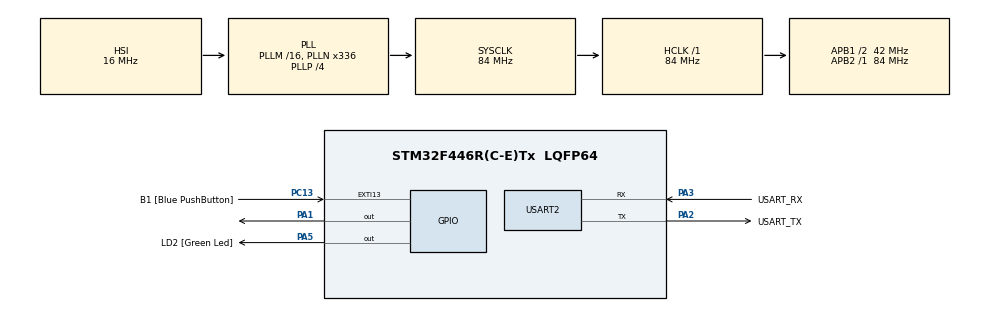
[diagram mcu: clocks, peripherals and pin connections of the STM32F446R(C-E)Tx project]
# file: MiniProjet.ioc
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FREERTOS.BinarySemaphores01=tempSemaphore,Dynamic,NULL,Available
FREERTOS.Tasks01=defaultTask,24,128,StartDefaultTask,Default,NULL,Dynamic,NULL,NULL;TemperatureTask,24,256,StartTask02,Default,NULL,Dynamic,NULL,NULL;AlarmTask,16,256,StartTask03,Default,NULL,Dynamic,NULL,NULL
FREERTOS.configUSE_NEWLIB_REENTRANT=1
Mcu.Family=STM32F4
Mcu.Name=STM32F446R(C-E)Tx
Mcu.Package=LQFP64
NVIC.PriorityGroup=NVIC_PRIORITYGROUP_4
NVIC.TIM6_DAC_IRQn=true\:15\:0\:false\:false\:true\:false\:false\:true\:true
NVIC.TimeBase=TIM6_DAC_IRQn
NVIC.TimeBaseIP=TIM6
PA1.Signal=GPIO_Output
PA13.GPIO_Label=TMS
PA13.Mode=Serial_Wire
PA13.Signal=SYS_JTMS-SWDIO
PA14.GPIO_Label=TCK
PA14.Mode=Serial_Wire
PA14.Signal=SYS_JTCK-SWCLK
PA2.GPIO_Label=USART_TX
PA2.Mode=Asynchronous
PA2.Signal=USART2_TX
PA3.GPIO_Label=USART_RX
PA3.Mode=Asynchronous
PA3.Signal=USART2_RX
PA5.GPIO_Label=LD2 [Green Led]
PA5.Signal=GPIO_Output
PB3.GPIO_Label=SWO
PB3.Signal=SYS_JTDO-SWO
PC13.GPIO_Label=B1 [Blue PushButton]
PC13.GPIO_ModeDefaultEXTI=GPIO_MODE_IT_FALLING
PC13.Signal=GPXTI13
PC14-OSC32_IN.Mode=LSE-External-Oscillator
PC14-OSC32_IN.Signal=RCC_OSC32_IN
PC15-OSC32_OUT.Mode=LSE-External-Oscillator
PC15-OSC32_OUT.Signal=RCC_OSC32_OUT
PH0-OSC_IN.Mode=HSE-External-Oscillator
PH0-OSC_IN.Signal=RCC_OSC_IN
PH1-OSC_OUT.Mode=HSE-External-Oscillator
PH1-OSC_OUT.Signal=RCC_OSC_OUT
ProjectManager.HeapSize=0x200
ProjectManager.StackSize=0x400
ProjectManager.TargetToolchain=STM32CubeIDE
RCC.48MHZClocksFreq_Value=84000000
RCC.AHBFreq_Value=84000000
RCC.APB1CLKDivider=RCC_HCLK_DIV2
RCC.APB1Freq_Value=42000000
RCC.APB1TimFreq_Value=84000000
RCC.APB2Freq_Value=84000000
RCC.APB2TimFreq_Value=84000000
RCC.CortexFreq_Value=84000000
RCC.FLatency-AdvancedSettings=FLASH_LATENCY_2
RCC.HCLKFreq_Value=84000000
RCC.HSE_VALUE=8000000
RCC.HSI_VALUE=16000000
RCC.PLLN=336
RCC.PLLP=RCC_PLLP_DIV4
RCC.SYSCLKFreq_VALUE=84000000
RCC.SYSCLKSource=RCC_SYSCLKSOURCE_PLLCLK
RCC.USBFreq_Value=168000000
RCC.VCOOutputFreq_Value=336000000
TIM2.Period=0xffffffff
TIM2.Prescaler=84-1
USART2.VirtualMode=VM_ASYNC
VP_FREERTOS_VS_CMSIS_V2.Mode=CMSIS_V2
VP_SYS_VS_tim6.Mode=TIM6
VP_TIM2_VS_ClockSourceINT.Mode=Internal
board=NUCLEO-F446RE

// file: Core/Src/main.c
/* USER CODE BEGIN Header */
/**
  ******************************************************************************
  * @file           : main.c
  * @brief          : Main program body
  ******************************************************************************
  * @attention
  *
  * Copyright (c) 2026 STMicroelectronics.
  * All rights reserved.
  *
  * This software is licensed under terms that can be found in the LICENSE file
  * in the root directory of this software component.
  * If no LICENSE file comes with this software, it is provided AS-IS.
  *
  ******************************************************************************
  */
/* USER CODE END Header */
#include "main.h"
#include "cmsis_os.h"

/* USER CODE BEGIN Includes */
#include "dht22.h"
#include <stdio.h>
#include <string.h>
/* USER CODE END Includes */

TIM_HandleTypeDef htim2;

UART_HandleTypeDef huart2;

/* Definitions for defaultTask */
osThreadId_t defaultTaskHandle;
const osThreadAttr_t defaultTask_attributes = {
  .name = "defaultTask",
  .stack_size = 128 * 4,
  .priority = (osPriority_t) osPriorityNormal,
};
/* Definitions for TemperatureTask */
osThreadId_t TemperatureTaskHandle;
const osThreadAttr_t TemperatureTask_attributes = {
  .name = "TemperatureTask",
  .stack_size = 256 * 4,
  .priority = (osPriority_t) osPriorityNormal,
};
/* Definitions for AlarmTask */
osThreadId_t AlarmTaskHandle;
const osThreadAttr_t AlarmTask_attributes = {
  .name = "AlarmTask",
  .stack_size = 256 * 4,
  .priority = (osPriority_t) osPriorityBelowNormal,
};
/* Definitions for tempSemaphore */
osSemaphoreId_t tempSemaphoreHandle;
const osSemaphoreAttr_t tempSemaphore_attributes = {
  .name = "tempSemaphore"
};

void SystemClock_Config(void);
static void MX_GPIO_Init(void);
static void MX_USART2_UART_Init(void);
static void MX_TIM2_Init(void);
void StartDefaultTask(void *argument);
void StartTask02(void *argument);
void StartTask03(void *argument);

/* USER CODE BEGIN 0 */
void UART_Send(char *msg)
{
    HAL_UART_Transmit(&huart2,
                     (uint8_t*)msg,
                     strlen(msg),
                     HAL_MAX_DELAY);
}
/* USER CODE END 0 */

int main(void)
{

  /* MCU Configuration--------------------------------------------------------*/

  /* Reset of all peripherals, Initializes the Flash interface and the Systick. */
  HAL_Init();

  /* Configure the system clock */
  SystemClock_Config();

  /* Initialize all configured peripherals */
  MX_GPIO_Init();
  MX_USART2_UART_Init();
  MX_TIM2_Init();
  HAL_TIM_Base_Start(&htim2);

  /* Init scheduler */
  osKernelInitialize();

  /* Create the semaphores(s) */
  /* creation of tempSemaphore */
  tempSemaphoreHandle = osSemaphoreNew(1, 0, &tempSemaphore_attributes);

  /* Create the thread(s) */
  /* creation of defaultTask */
  defaultTaskHandle = osThreadNew(StartDefaultTask, NULL, &defaultTask_attributes);

  /* creation of TemperatureTask */
  TemperatureTaskHandle = osThreadNew(StartTask02, NULL, &TemperatureTask_attributes);

  /* creation of AlarmTask */
  AlarmTaskHandle = osThreadNew(StartTask03, NULL, &AlarmTask_attributes);

  /* Start scheduler */
  osKernelStart();

  /* We should never get here as control is now taken by the scheduler */

  /* Infinite loop */
  while (1)
  {

  }
}

void SystemClock_Config(void)
{
  RCC_OscInitTypeDef RCC_OscInitStruct = {0};
  RCC_ClkInitTypeDef RCC_ClkInitStruct = {0};

  /** Configure the main internal regulator output voltage
  */
  __HAL_RCC_PWR_CLK_ENABLE();
  __HAL_PWR_VOLTAGESCALING_CONFIG(PWR_REGULATOR_VOLTAGE_SCALE3);

  /** Initializes the RCC Oscillators according to the specified parameters
  * in the RCC_OscInitTypeDef structure.
  */
  RCC_OscInitStruct.OscillatorType = RCC_OSCILLATORTYPE_HSI;
  RCC_OscInitStruct.HSIState = RCC_HSI_ON;
  RCC_OscInitStruct.HSICalibrationValue = RCC_HSICALIBRATION_DEFAULT;
  RCC_OscInitStruct.PLL.PLLState = RCC_PLL_ON;
  RCC_OscInitStruct.PLL.PLLSource = RCC_PLLSOURCE_HSI;
  RCC_OscInitStruct.PLL.PLLM = 16;
  RCC_OscInitStruct.PLL.PLLN = 336;
  RCC_OscInitStruct.PLL.PLLP = RCC_PLLP_DIV4;
  RCC_OscInitStruct.PLL.PLLQ = 2;
  RCC_OscInitStruct.PLL.PLLR = 2;
  if (HAL_RCC_OscConfig(&RCC_OscInitStruct) != HAL_OK)
  {
    Error_Handler();
  }

  /** Initializes the CPU, AHB and APB buses clocks
  */
  RCC_ClkInitStruct.ClockType = RCC_CLOCKTYPE_HCLK|RCC_CLOCKTYPE_SYSCLK
                              |RCC_CLOCKTYPE_PCLK1|RCC_CLOCKTYPE_PCLK2;
  RCC_ClkInitStruct.SYSCLKSource = RCC_SYSCLKSOURCE_PLLCLK;
  RCC_ClkInitStruct.AHBCLKDivider = RCC_SYSCLK_DIV1;
  RCC_ClkInitStruct.APB1CLKDivider = RCC_HCLK_DIV2;
  RCC_ClkInitStruct.APB2CLKDivider = RCC_HCLK_DIV1;

  if (HAL_RCC_ClockConfig(&RCC_ClkInitStruct, FLASH_LATENCY_2) != HAL_OK)
  {
    Error_Handler();
  }
}

static void MX_TIM2_Init(void)
{

  TIM_ClockConfigTypeDef sClockSourceConfig = {0};
  TIM_MasterConfigTypeDef sMasterConfig = {0};

  htim2.Instance = TIM2;
  htim2.Init.Prescaler = 84-1;
  htim2.Init.CounterMode = TIM_COUNTERMODE_UP;
  htim2.Init.Period = 0xffffffff;
  htim2.Init.ClockDivision = TIM_CLOCKDIVISION_DIV1;
  htim2.Init.AutoReloadPreload = TIM_AUTORELOAD_PRELOAD_DISABLE;
  if (HAL_TIM_Base_Init(&htim2) != HAL_OK)
  {
    Error_Handler();
  }
  sClockSourceConfig.ClockSource = TIM_CLOCKSOURCE_INTERNAL;
  if (HAL_TIM_ConfigClockSource(&htim2, &sClockSourceConfig) != HAL_OK)
  {
    Error_Handler();
  }
  sMasterConfig.MasterOutputTrigger = TIM_TRGO_RESET;
  sMasterConfig.MasterSlaveMode = TIM_MASTERSLAVEMODE_DISABLE;
  if (HAL_TIMEx_MasterConfigSynchronization(&htim2, &sMasterConfig) != HAL_OK)
  {
    Error_Handler();
  }

}

static void MX_USART2_UART_Init(void)
{

  huart2.Instance = USART2;
  huart2.Init.BaudRate = 115200;
  huart2.Init.WordLength = UART_WORDLENGTH_8B;
  huart2.Init.StopBits = UART_STOPBITS_1;
  huart2.Init.Parity = UART_PARITY_NONE;
  huart2.Init.Mode = UART_MODE_TX_RX;
  huart2.Init.HwFlowCtl = UART_HWCONTROL_NONE;
  huart2.Init.OverSampling = UART_OVERSAMPLING_16;
  if (HAL_UART_Init(&huart2) != HAL_OK)
  {
    Error_Handler();
  }

}

static void MX_GPIO_Init(void)
{
  GPIO_InitTypeDef GPIO_InitStruct = {0};

  /* GPIO Ports Clock Enable */
  __HAL_RCC_GPIOC_CLK_ENABLE();
  __HAL_RCC_GPIOH_CLK_ENABLE();
  __HAL_RCC_GPIOA_CLK_ENABLE();
  __HAL_RCC_GPIOB_CLK_ENABLE();

  /*Configure GPIO pin Output Level */
  HAL_GPIO_WritePin(GPIOA, GPIO_PIN_1|LD2_Pin, GPIO_PIN_RESET);

  /*Configure GPIO pin : B1_Pin */
  GPIO_InitStruct.Pin = B1_Pin;
  GPIO_InitStruct.Mode = GPIO_MODE_IT_FALLING;
  GPIO_InitStruct.Pull = GPIO_NOPULL;
  HAL_GPIO_Init(B1_GPIO_Port, &GPIO_InitStruct);

  /*Configure GPIO pins : PA1 LD2_Pin */
  GPIO_InitStruct.Pin = GPIO_PIN_1|LD2_Pin;
  GPIO_InitStruct.Mode = GPIO_MODE_OUTPUT_PP;
  GPIO_InitStruct.Pull = GPIO_NOPULL;
  GPIO_InitStruct.Speed = GPIO_SPEED_FREQ_LOW;
  HAL_GPIO_Init(GPIOA, &GPIO_InitStruct);

}

void StartDefaultTask(void *argument)
{
  for(;;)
  {
    osDelay(1);
  }
}

void StartTask02(void *argument)
{
  /* USER CODE BEGIN StartTask02 */

  char buffer[100];

  float temp;

  for(;;)
  {
    temp = DHT22_GetTemperature();

    sprintf(buffer,
            "Temperature = %.2f C\r\n",
            temp);

    UART_Send(buffer);

    if(temp > 30.0)
    {
      osSemaphoreRelease(tempSemaphoreHandle);
    }

    osDelay(2000);
  }

  /* USER CODE END StartTask02 */
}

void StartTask03(void *argument)
{
  /* USER CODE BEGIN StartTask03 */

  for(;;)
  {
    osSemaphoreAcquire(tempSemaphoreHandle,
                       osWaitForever);

    UART_Send("\a");

    UART_Send("!!! ALERTE TEMPERATURE !!!\r\n");
  }

  /* USER CODE END StartTask03 */
}
void HAL_TIM_PeriodElapsedCallback(TIM_HandleTypeDef *htim)
{
  if (htim->Instance == TIM6)
  {
    HAL_IncTick();
  }
}

void Error_Handler(void)
{
  __disable_irq();
  while (1)
  {
  }
}
